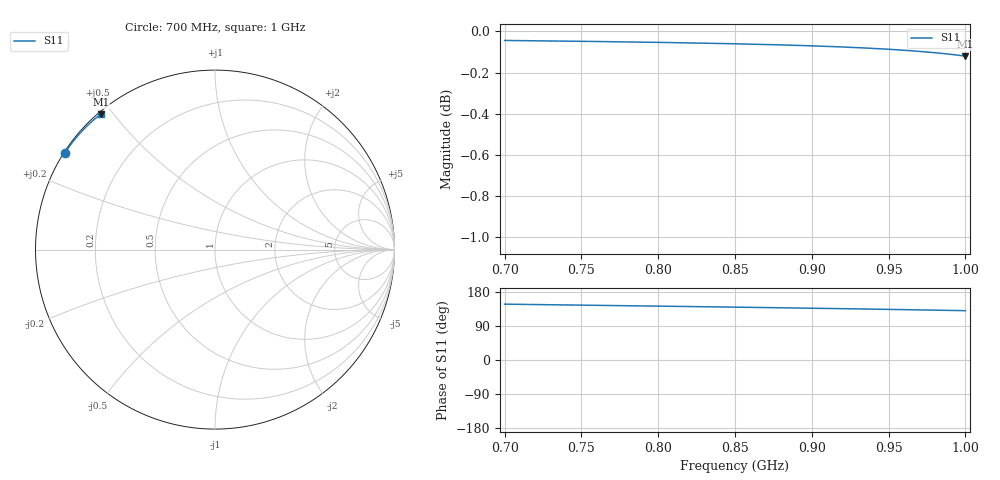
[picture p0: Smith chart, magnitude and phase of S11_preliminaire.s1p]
! TOUCHSTONE file generated by CST MICROWAVE STUDIO
! Date and time: Mon Oct 26 21:32:10 2026
! Project name: SmartPot_V3_ODB_REDUIT.cst
! Header version: 2024
! Port assignment regex: !\s*Touchstone port\s*([0-9]+)\s*=\s*(CST MWS port|CST DES external port|CST DES block port)\s*(.+)\s* \(\"(.*)\"\)(\s*mode\s*([0-9]+))?.*
! Touchstone port assignment:
! Touchstone port 1 = CST MWS port 1 ("")
# GHz S MA R 50
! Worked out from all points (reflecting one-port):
!   1001 points, 700 MHz to 1 GHz, reference 50 ohm
!   lowest |S11| = -0.1 dB at 1 GHz (marker M1), VSWR 144.75, Z = 0.42 + j23.2 ohm
!   phase of S11 starts at 147 deg and turns -17 deg over the sweep
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0.7  0.995 147.4
0.7015  0.995 147.3
0.7195  0.9948 146.4
0.7375  0.9946 145.5
0.7564  0.9944 144.5
0.775  0.9942 143.5
0.7939  0.994 142.5
0.8125  0.9937 141.6
0.8317  0.9934 140.5
0.85  0.9931 139.5
0.8596  0.9929 139.0
0.8692  0.9927 138.4
0.8785  0.9925 137.9
0.8875  0.9923 137.4
0.8971  0.9921 136.8
0.9067  0.9918 136.3
0.916  0.9915 135.7
0.925  0.9912 135.2
0.9349  0.9908 134.6
0.9445  0.9903 134.0
0.9535  0.9899 133.4
0.9625  0.9894 132.8
0.9715  0.9888 132.2
0.9799  0.9882 131.6
0.9895  0.9874 130.9
0.9985  0.9864 130.3
0.9994  0.9863 130.2
1  0.9863 130.2
